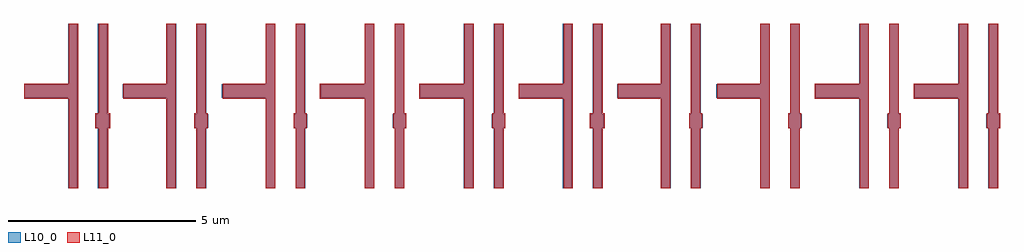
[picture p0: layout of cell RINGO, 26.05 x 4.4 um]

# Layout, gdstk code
import gdstk
lib = gdstk.Library(unit=1e-6, precision=1e-09)
def R(c, l, rs):  # rectangles x0, y0, x1, y1
    for r in rs: c.add(gdstk.rectangle(r[:2], r[2:], *l))
def P(c, l, *ps):  # polygons
    for p in ps: c.add(gdstk.Polygon(p, *l))
L10_0 = (10, 0)
L11_0 = (11, 0)

trans = lib.new_cell('TRANS')
R(trans, L10_0, [(-0.125,-0.8,0.125,0.8)])

trans_var1 = lib.new_cell('TRANS$VAR1')
R(trans_var1, L10_0, [(-0.125,-0.8,0.125,0.8)])

inv2 = lib.new_cell('INV2')
R(inv2, L10_0, [(-0.525,-0.25,-0.275,2.25), (0.275,-0.25,0.525,2.25), (0.22,0.82,0.58,1.18), (-1.7,1.62,-0.4,1.98)])
P(inv2, L11_0, [(-0.53,-0.8),(-0.53,1.6),(-1.68,1.6),(-1.68,2),(-0.53,2),(-0.53,3.6),(-0.28,3.6),(-0.28,-0.8)],
  [(0.27,-0.8),(0.27,0.8),(0.22,0.8),(0.22,1.2),(0.27,1.2),(0.27,3.6),(0.52,3.6),(0.52,1.2),(0.57,1.2),(0.57,0.8),(0.52,0.8),(0.52,-0.8)])
inv2.add(gdstk.Reference(trans, (0.4,0), x_reflection=True))
inv2.add(gdstk.Reference(trans, (0.4,2.8), x_reflection=True))
inv2.add(gdstk.Reference(trans_var1, (-0.4,0)))
inv2.add(gdstk.Reference(trans_var1, (-0.4,2.8)))

trans_var2 = lib.new_cell('TRANS$VAR2')
R(trans_var2, L10_0, [(-0.125,-0.8,0.125,0.8)])

trans_var3 = lib.new_cell('TRANS$VAR3')
R(trans_var3, L10_0, [(-0.125,-0.8,0.125,0.8)])

inv2_var1 = lib.new_cell('INV2$VAR1')
R(inv2_var1, L10_0, [(-0.525,-0.25,-0.275,2.25), (0.275,-0.25,0.525,2.25), (0.22,0.82,0.58,1.18), (-1.7,1.62,-0.4,1.98)])
P(inv2_var1, L11_0, [(-0.54,-0.8),(-0.54,1.6),(-1.69,1.6),(-1.69,2),(-0.54,2),(-0.54,3.6),(-0.29,3.6),(-0.29,-0.8)],
  [(0.26,-0.8),(0.26,0.8),(0.21,0.8),(0.21,1.2),(0.26,1.2),(0.26,3.6),(0.51,3.6),(0.51,1.2),(0.56,1.2),(0.56,0.8),(0.51,0.8),(0.51,-0.8)])
inv2_var1.add(gdstk.Reference(trans_var2, (0.4,0), x_reflection=True))
inv2_var1.add(gdstk.Reference(trans_var2, (0.4,2.8), x_reflection=True))
inv2_var1.add(gdstk.Reference(trans_var3, (-0.4,0)))
inv2_var1.add(gdstk.Reference(trans_var3, (-0.4,2.8)))

trans_var4 = lib.new_cell('TRANS$VAR4')
R(trans_var4, L10_0, [(-0.125,-0.8,0.125,0.8)])

trans_var5 = lib.new_cell('TRANS$VAR5')
R(trans_var5, L10_0, [(-0.125,-0.8,0.125,0.8)])

inv2_var2 = lib.new_cell('INV2$VAR2')
R(inv2_var2, L10_0, [(-0.525,-0.25,-0.275,2.25), (0.275,-0.25,0.525,2.25), (0.22,0.82,0.58,1.18), (-1.7,1.62,-0.4,1.98)])
P(inv2_var2, L11_0, [(-0.5,-0.8),(-0.5,1.6),(-1.7,1.6),(-1.7,2),(-0.5,2),(-0.5,3.6),(-0.25,3.6),(-0.25,-0.8)],
  [(0.3,-0.8),(0.3,0.8),(0.2,0.8),(0.2,1.2),(0.3,1.2),(0.3,3.6),(0.55,3.6),(0.55,1.2),(0.6,1.2),(0.6,0.8),(0.55,0.8),(0.55,-0.8)])
inv2_var2.add(gdstk.Reference(trans_var4, (0.4,0), x_reflection=True))
inv2_var2.add(gdstk.Reference(trans_var4, (0.4,2.8), x_reflection=True))
inv2_var2.add(gdstk.Reference(trans_var5, (-0.4,0)))
inv2_var2.add(gdstk.Reference(trans_var5, (-0.4,2.8)))

trans_var6 = lib.new_cell('TRANS$VAR6')
R(trans_var6, L10_0, [(-0.125,-0.8,0.125,0.8)])

trans_var7 = lib.new_cell('TRANS$VAR7')
R(trans_var7, L10_0, [(-0.125,-0.8,0.125,0.8)])

inv2_var3 = lib.new_cell('INV2$VAR3')
R(inv2_var3, L10_0, [(-0.525,-0.25,-0.275,2.25), (0.275,-0.25,0.525,2.25), (0.22,0.82,0.58,1.18), (-1.7,1.62,-0.4,1.98)])
P(inv2_var3, L11_0, [(-0.51,-0.8),(-0.51,1.6),(-1.71,1.6),(-1.71,2),(-0.51,2),(-0.51,3.6),(-0.26,3.6),(-0.26,-0.8)],
  [(0.29,-0.8),(0.29,0.8),(0.24,0.8),(0.24,1.2),(0.29,1.2),(0.29,3.6),(0.54,3.6),(0.54,1.2),(0.59,1.2),(0.59,0.8),(0.54,0.8),(0.54,-0.8)])
inv2_var3.add(gdstk.Reference(trans_var6, (0.4,0), x_reflection=True))
inv2_var3.add(gdstk.Reference(trans_var6, (0.4,2.8), x_reflection=True))
inv2_var3.add(gdstk.Reference(trans_var7, (-0.4,0)))
inv2_var3.add(gdstk.Reference(trans_var7, (-0.4,2.8)))

trans_var8 = lib.new_cell('TRANS$VAR8')
R(trans_var8, L10_0, [(-0.125,-0.8,0.125,0.8)])

trans_var9 = lib.new_cell('TRANS$VAR9')
R(trans_var9, L10_0, [(-0.125,-0.8,0.125,0.8)])

inv2_var4 = lib.new_cell('INV2$VAR4')
R(inv2_var4, L10_0, [(-0.525,-0.25,-0.275,2.25), (0.275,-0.25,0.525,2.25), (0.22,0.82,0.58,1.18), (-1.7,1.62,-0.4,1.98)])
P(inv2_var4, L11_0, [(-0.52,-0.8),(-0.52,1.6),(-1.72,1.6),(-1.72,2),(-0.52,2),(-0.52,3.6),(-0.27,3.6),(-0.27,-0.8)],
  [(0.28,-0.8),(0.28,0.8),(0.23,0.8),(0.23,1.2),(0.28,1.2),(0.28,3.6),(0.53,3.6),(0.53,1.2),(0.58,1.2),(0.58,0.8),(0.53,0.8),(0.53,-0.8)])
inv2_var4.add(gdstk.Reference(trans_var8, (0.4,0), x_reflection=True))
inv2_var4.add(gdstk.Reference(trans_var8, (0.4,2.8), x_reflection=True))
inv2_var4.add(gdstk.Reference(trans_var9, (-0.4,0)))
inv2_var4.add(gdstk.Reference(trans_var9, (-0.4,2.8)))

ringo = lib.new_cell('RINGO')
ringo.add(gdstk.Reference(inv2, (5.28,0)))
ringo.add(gdstk.Reference(inv2, (18.48,0)))
ringo.add(gdstk.Reference(inv2_var1, (2.64,0)))
ringo.add(gdstk.Reference(inv2_var1, (15.84,0)))
ringo.add(gdstk.Reference(inv2_var2, (0,0)))
ringo.add(gdstk.Reference(inv2_var2, (13.2,0)))
ringo.add(gdstk.Reference(inv2_var3, (10.56,0)))
ringo.add(gdstk.Reference(inv2_var3, (23.76,0)))
ringo.add(gdstk.Reference(inv2_var4, (7.92,0)))
ringo.add(gdstk.Reference(inv2_var4, (21.12,0)))

lib.write_gds('RINGO.gds')
